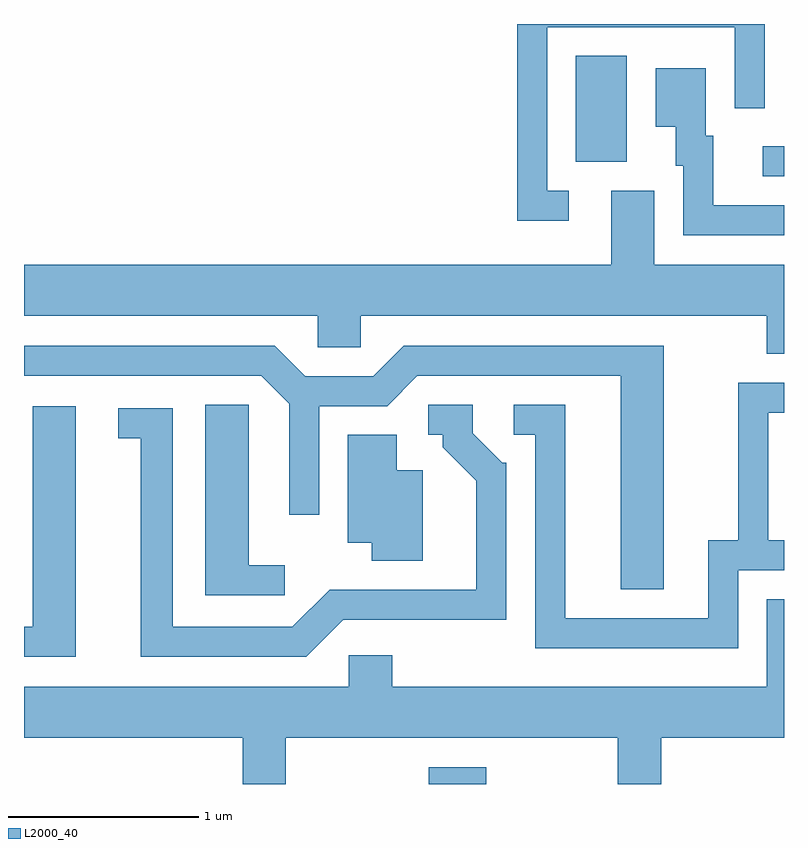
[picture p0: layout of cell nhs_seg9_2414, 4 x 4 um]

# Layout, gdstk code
import gdstk
lib = gdstk.Library(unit=1e-6, precision=1e-09)
def R(c, l, rs):  # rectangles x0, y0, x1, y1
    for r in rs: c.add(gdstk.rectangle(r[:2], r[2:], *l))
def P(c, l, *ps):  # polygons
    for p in ps: c.add(gdstk.Polygon(p, *l))
L2000_40 = (2000, 40)

nhs_seg9_2414 = lib.new_cell('nhs_seg9_2414')
R(nhs_seg9_2414, L2000_40, [(257.741,2020.432,258.044,2020.519), (259.498,2023.631,259.611,2023.789), (258.516,2023.706,258.784,2024.264)])
P(nhs_seg9_2414, L2000_40, [(258.478,2023.554),(258.364,2023.554),(258.364,2024.416),(259.351,2024.416),(259.351,2023.988),(259.509,2023.988),(259.509,2024.432),(258.206,2024.432),(258.206,2023.396),(258.478,2023.396)],
  [(259.611,2023.479),(259.239,2023.479),(259.239,2023.844),(259.199,2023.844),(259.199,2024.199),(258.936,2024.199),(258.936,2023.891),(259.041,2023.891),(259.041,2023.686),(259.081,2023.686),(259.081,2023.321),(259.611,2023.321)],
  [(259.611,2023.164),(258.929,2023.164),(258.929,2023.554),(258.701,2023.554),(258.701,2023.164),(255.611,2023.164),(255.611,2022.896),(257.156,2022.896),(257.156,2022.731),(257.384,2022.731),(257.384,2022.896),(259.521,2022.896),(259.521,2022.696),(259.611,2022.696)],
  [(258.979,2022.739),(257.609,2022.739),(257.449,2022.579),(257.092,2022.579),(256.932,2022.739),(255.611,2022.739),(255.611,2022.581),(256.859,2022.581),(257.006,2022.434),(257.006,2021.848),(257.164,2021.848),(257.164,2022.421),(257.522,2022.421),(257.682,2022.581),(258.751,2022.581),(258.751,2021.456),(258.979,2021.456)],
  [(259.369,2021.556),(259.611,2021.556),(259.611,2021.714),(259.529,2021.714),(259.529,2022.386),(259.611,2022.386),(259.611,2022.544),(259.371,2022.544),(259.371,2021.714),(259.211,2021.714),(259.211,2021.304),(258.459,2021.304),(258.459,2022.429),(258.188,2022.429),(258.188,2022.271),(258.301,2022.271),(258.301,2021.146),(259.369,2021.146)],
  [(256.983,2021.584),(256.794,2021.584),(256.794,2022.429),(256.566,2022.429),(256.566,2021.426),(256.983,2021.426)],
  [(257.291,2021.296),(258.149,2021.296),(258.149,2022.124),(258.127,2022.124),(257.974,2022.277),(257.974,2022.429),(257.738,2022.429),(257.738,2022.271),(257.816,2022.271),(257.816,2022.204),(257.991,2022.029),(257.991,2021.454),(257.219,2021.454),(257.024,2021.259),(256.394,2021.259),(256.394,2022.409),(256.108,2022.409),(256.108,2022.251),(256.226,2022.251),(256.226,2021.101),(257.097,2021.101)],
  [(255.884,2022.419),(255.656,2022.419),(255.656,2021.259),(255.611,2021.259),(255.611,2021.101),(255.884,2021.101)],
  [(257.709,2022.084),(257.574,2022.084),(257.574,2022.269),(257.316,2022.269),(257.316,2021.701),(257.441,2021.701),(257.441,2021.606),(257.709,2021.606)],
  [(256.989,2020.676),(258.736,2020.676),(258.736,2020.432),(258.964,2020.432),(258.964,2020.676),(259.611,2020.676),(259.611,2021.404),(259.521,2021.404),(259.521,2020.944),(257.549,2020.944),(257.549,2021.109),(257.321,2021.109),(257.321,2020.944),(255.611,2020.944),(255.611,2020.676),(256.761,2020.676),(256.761,2020.432),(256.989,2020.432)])

lib.write_gds('nhs_seg9_2414.gds')
